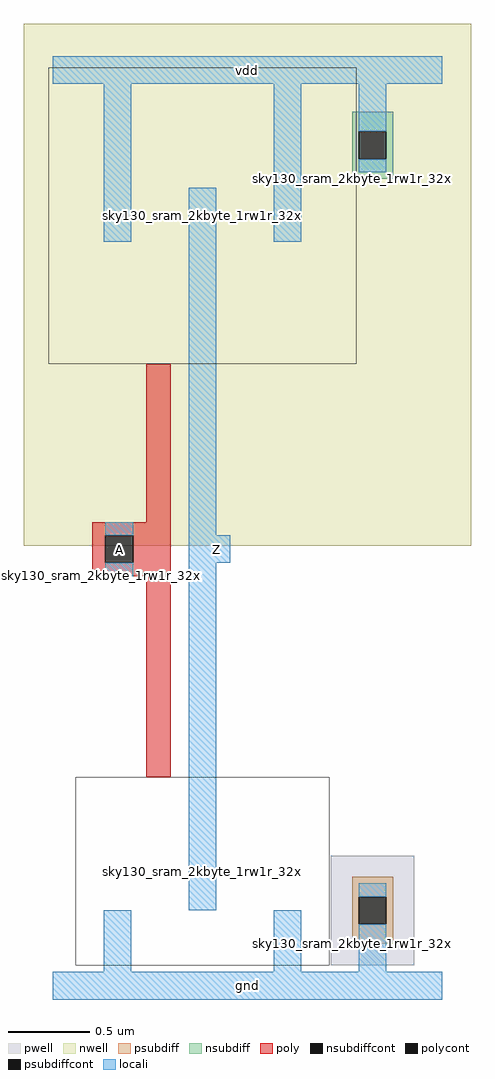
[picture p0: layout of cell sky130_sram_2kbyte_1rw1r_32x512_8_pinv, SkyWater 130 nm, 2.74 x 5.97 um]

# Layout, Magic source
magic
tech sky130A
magscale 1 2
<< nwell >>
rect -36 538 512 1177
<< pwell >>
rect 340 25 442 159
<< psubdiff >>
rect 366 109 416 133
rect 366 75 374 109
rect 408 75 416 109
rect 366 51 416 75
<< nsubdiff >>
rect 366 1045 416 1069
rect 366 1011 374 1045
rect 408 1011 416 1045
rect 366 987 416 1011
<< psubdiffcont >>
rect 374 75 408 109
<< nsubdiffcont >>
rect 374 1011 408 1045
<< poly >>
rect 114 567 144 761
rect 48 551 144 567
rect 48 517 64 551
rect 98 517 144 551
rect 48 501 144 517
rect 114 255 144 501
<< polycont >>
rect 64 517 98 551
<< locali >>
rect 0 1103 476 1137
rect 62 910 96 1103
rect 64 551 98 567
rect 64 501 98 517
rect 166 551 200 976
rect 270 910 304 1103
rect 374 1045 408 1103
rect 374 995 408 1011
rect 166 517 217 551
rect 166 92 200 517
rect 374 109 408 125
rect 62 17 96 92
rect 270 17 304 92
rect 374 17 408 75
rect 0 -17 476 17
use sky130_sram_2kbyte_1rw1r_32x512_8_contact_16  sky130_sram_2kbyte_1rw1r_32x512_8_contact_16_0
transform 1 0 48 0 1 501
box 0 0 1 1
use sky130_sram_2kbyte_1rw1r_32x512_8_contact_29  sky130_sram_2kbyte_1rw1r_32x512_8_contact_29_0
transform 1 0 366 0 1 51
box 0 0 1 1
use sky130_sram_2kbyte_1rw1r_32x512_8_contact_28  sky130_sram_2kbyte_1rw1r_32x512_8_contact_28_0
transform 1 0 366 0 1 987
box 0 0 1 1
use sky130_sram_2kbyte_1rw1r_32x512_8_nmos_m2_w0_740_sli_dli_da_p  sky130_sram_2kbyte_1rw1r_32x512_8_nmos_m2_w0_740_sli_dli_da_p_0
transform 1 0 54 0 1 51
box -26 -26 284 204
use sky130_sram_2kbyte_1rw1r_32x512_8_pmos_m2_w1_260_sli_dli_da_p  sky130_sram_2kbyte_1rw1r_32x512_8_pmos_m2_w1_260_sli_dli_da_p_0
transform 1 0 54 0 1 817
box -59 -56 317 306
<< labels >>
rlabel locali s 81 534 81 534 4 A
port 1 nsew
rlabel locali s 200 534 200 534 4 Z
port 2 nsew
rlabel locali s 238 0 238 0 4 gnd
port 3 nsew
rlabel locali s 238 1120 238 1120 4 vdd
port 4 nsew
<< properties >>
string FIXED_BBOX 0 0 476 1120
string GDS_FILE $PDKPATH/libs.ref/sky130_sram_macros/gds/sky130_sram_2kbyte_1rw1r_32x512_8.gds
string GDS_END 23556
string GDS_START 21558
<< end >>
